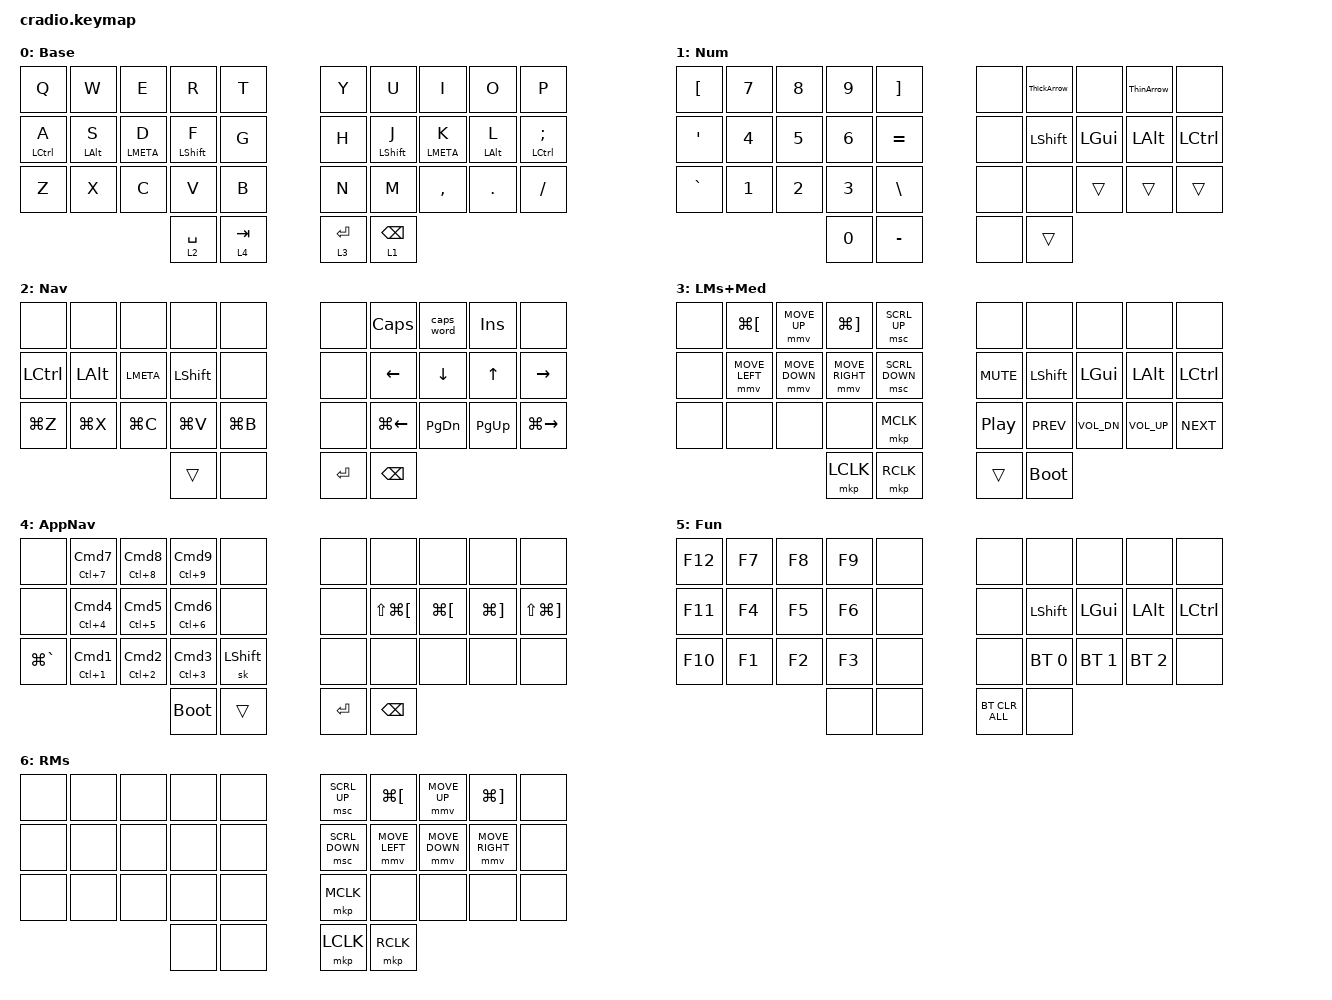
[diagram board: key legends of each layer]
// Copyright (c) 2022 The ZMK Contributors
// SPDX-License-Identifier: MIT

#include <behaviors.dtsi>
#include <dt-bindings/zmk/bt.h>
#include <dt-bindings/zmk/keys.h>
#include <dt-bindings/zmk/pointing.h>

#define ZMK_POINTING_DEFAULT_MOVE_VAL 1200
#define ZMK_POINTING_DEFAULT_SCRL_VAL 15

&lt { quick-tap-ms = <250>; };

&mmv { time-to-max-speed-ms = <600>; };

&sl {
    release-after-ms = <10000>;
    ignore-modifiers;
};

/ {
    conditional_layers { compatible = "zmk,conditional-layers"; };

    combos {
        compatible = "zmk,combos";

        Esc {
            bindings = <&kp ESC>;
            key-positions = <22 23>;
        };

        Del {
            bindings = <&kp DEL>;
            key-positions = <26 27>;
        };

        LeftMouse {
            bindings = <&tog 3>;
            key-positions = <21 22>;
            layers = <0 3>;
        };

        RightMouse {
            bindings = <&tog 6>;
            key-positions = <27 28>;
            layers = <0 6>;
        };

        Layer5 {
            bindings = <&mo 5>;
            key-positions = <33 30>;
            layers = <0 3 5 6>;
        };
    };

    macros {
        ThickArrow: ThickArrow {
            compatible = "zmk,behavior-macro";
            #binding-cells = <0>;
            bindings = <&kp SPACE &kp EQUAL &kp GT &kp SPACE>;
            label = "THICKARROW";
        };

        ThinArrow: ThinArrow {
            compatible = "zmk,behavior-macro";
            #binding-cells = <0>;
            bindings = <&kp MINUS &kp GT>;
            label = "THINARROW";
        };

        Cmd1: Cmd1 {
            compatible = "zmk,behavior-macro";
            #binding-cells = <0>;
            wait-ms = <30>;
            tap-ms = <20>;
             bindings =
                 <&macro_press &kp LGUI>,
                 <&macro_tap &kp N1>,
                 <&macro_release &kp LGUI>;

            label = "CMD1";
        };

        Cmd2: Cmd2 {
            compatible = "zmk,behavior-macro";
            #binding-cells = <0>;
            wait-ms = <30>;
            tap-ms = <20>;
             bindings =
                 <&macro_press &kp LGUI>,
                 <&macro_tap &kp N2>,
                 <&macro_release &kp LGUI>;

            label = "CMD2";
        };

        Cmd3: Cmd3 {
            compatible = "zmk,behavior-macro";
            #binding-cells = <0>;
            wait-ms = <30>;
            tap-ms = <20>;
             bindings =
                 <&macro_press &kp LGUI>,
                 <&macro_tap &kp N3>,
                 <&macro_release &kp LGUI>;

            label = "CMD3";
        };

        Cmd4: Cmd4 {
            compatible = "zmk,behavior-macro";
            #binding-cells = <0>;
            wait-ms = <30>;
            tap-ms = <20>;
             bindings =
                 <&macro_press &kp LGUI>,
                 <&macro_tap &kp N4>,
                 <&macro_release &kp LGUI>;

            label = "CMD4";
        };

        Cmd5: Cmd5 {
            compatible = "zmk,behavior-macro";
            #binding-cells = <0>;
            wait-ms = <30>;
            tap-ms = <20>;
             bindings =
                 <&macro_press &kp LGUI>,
                 <&macro_tap &kp N5>,
                 <&macro_release &kp LGUI>;

            label = "CMD5";
        };

        Cmd6: Cmd6 {
            compatible = "zmk,behavior-macro";
            #binding-cells = <0>;
            wait-ms = <30>;
            tap-ms = <20>;
             bindings =
                 <&macro_press &kp LGUI>,
                 <&macro_tap &kp N6>,
                 <&macro_release &kp LGUI>;

            label = "CMD6";
        };

        Cmd7: Cmd7 {
            compatible = "zmk,behavior-macro";
            #binding-cells = <0>;
            wait-ms = <30>;
            tap-ms = <20>;
             bindings =
                 <&macro_press &kp LGUI>,
                 <&macro_tap &kp N7>,
                 <&macro_release &kp LGUI>;

            label = "CMD7";
        };

        Cmd8: Cmd8 {
            compatible = "zmk,behavior-macro";
            #binding-cells = <0>;
            wait-ms = <30>;
            tap-ms = <20>;
             bindings =
                 <&macro_press &kp LGUI>,
                 <&macro_tap &kp N8>,
                 <&macro_release &kp LGUI>;

            label = "CMD8";
        };

        Cmd9: Cmd9 {
            compatible = "zmk,behavior-macro";
            #binding-cells = <0>;
            wait-ms = <30>;
            tap-ms = <20>;
             bindings =
                 <&macro_press &kp LGUI>,
                 <&macro_tap &kp N9>,
                 <&macro_release &kp LGUI>;

            label = "CMD9";
        };
    };

    behaviors {
        hrml_ht: hrm_left_ht {
            compatible = "zmk,behavior-hold-tap";
            label = "Home row mods left hold tap";
            bindings = <&kp>, <&kp>;

            #binding-cells = <2>;
            tapping-term-ms = <160>;
            quick-tap-ms = <150>;
            require-prior-idle-ms = <80>;
            flavor = "balanced";
            hold-trigger-on-release;
            hold-trigger-key-positions = <5 6 7 8 9 15 16 17 18 19 25 26 27 28 29 30 31 32 33>;
            hold-while-undecided;
        };

        hrmr_ht: hrm_right_ht {
            compatible = "zmk,behavior-hold-tap";
            label = "Home row mods right hold tap";
            bindings = <&kp>, <&kp>;

            #binding-cells = <2>;
            tapping-term-ms = <160>;
            quick-tap-ms = <150>;
            require-prior-idle-ms = <80>;
            flavor = "balanced";
            hold-trigger-on-release;
            hold-trigger-key-positions = <0 1 2 3 4 10 11 12 13 14 20 21 22 23 24 30 31 32 33>;
            hold-while-undecided;
        };

        an_ht: appnav_ht {
            compatible = "zmk,behavior-hold-tap";
            label = "AppNavigation hold tap";
            bindings = <&kp>, <&kp>;

            #binding-cells = <2>;
            tapping-term-ms = <160>;
            flavor = "tap-preferred";
        };

        macro_ht1: macro_hold_tap1 {
            compatible = "zmk,behavior-hold-tap";
            label = "Macro hold tap 1";
            bindings = <&kp>, <&Cmd1>;

            #binding-cells = <2>;
            tapping-term-ms = <160>;
            flavor = "tap-preferred";
        };

        macro_ht2: macro_hold_tap2 {
            compatible = "zmk,behavior-hold-tap";
            label = "Macro hold tap 2";
            bindings = <&kp>, <&Cmd2>;

            #binding-cells = <2>;
            tapping-term-ms = <160>;
            flavor = "tap-preferred";
        };

        macro_ht3: macro_hold_tap3 {
            compatible = "zmk,behavior-hold-tap";
            label = "Macro hold tap 3";
            bindings = <&kp>, <&Cmd3>;

            #binding-cells = <2>;
            tapping-term-ms = <160>;
            flavor = "tap-preferred";
        };

        macro_ht4: macro_hold_tap4 {
            compatible = "zmk,behavior-hold-tap";
            label = "Macro hold tap 4";
            bindings = <&kp>, <&Cmd4>;

            #binding-cells = <2>;
            tapping-term-ms = <160>;
            flavor = "tap-preferred";
        };

        macro_ht5: macro_hold_tap5 {
            compatible = "zmk,behavior-hold-tap";
            label = "Macro hold tap 5";
            bindings = <&kp>, <&Cmd5>;

            #binding-cells = <2>;
            tapping-term-ms = <160>;
            flavor = "tap-preferred";
        };

        macro_ht6: macro_hold_tap6 {
            compatible = "zmk,behavior-hold-tap";
            label = "Macro hold tap 6";
            bindings = <&kp>, <&Cmd6>;

            #binding-cells = <2>;
            tapping-term-ms = <160>;
            flavor = "tap-preferred";
        };

        macro_ht7: macro_hold_tap7 {
            compatible = "zmk,behavior-hold-tap";
            label = "Macro hold tap 7";
            bindings = <&kp>, <&Cmd7>;

            #binding-cells = <2>;
            tapping-term-ms = <160>;
            flavor = "tap-preferred";
        };

        macro_ht8: macro_hold_tap8 {
            compatible = "zmk,behavior-hold-tap";
            label = "Macro hold tap 8";
            bindings = <&kp>, <&Cmd8>;

            #binding-cells = <2>;
            tapping-term-ms = <160>;
            flavor = "tap-preferred";
        };

        macro_ht9: macro_hold_tap9 {
            compatible = "zmk,behavior-hold-tap";
            label = "Macro hold tap 9";
            bindings = <&kp>, <&Cmd9>;

            #binding-cells = <2>;
            tapping-term-ms = <160>;
            flavor = "tap-preferred";
        };
    };

    keymap {
        compatible = "zmk,keymap";

        Base {
            bindings = <
&kp Q             &kp W            &kp E             &kp R              &kp T        &kp Y        &kp U             &kp I             &kp O            &kp P
&hrml_ht LCTRL A  &hrml_ht LALT S  &hrml_ht LMETA D  &hrml_ht LSHIFT F  &kp G        &kp H        &hrmr_ht LSHFT J  &hrmr_ht LMETA K  &hrmr_ht LALT L  &hrmr_ht LCTRL SEMI
&kp Z             &kp X            &kp C             &kp V              &kp B        &kp N        &kp M             &kp COMMA         &kp DOT          &kp SLASH
                                                     &lt 2 SPACE        &lt 4 TAB    &lt 3 ENTER  &lt 1 BSPC
            >;
        };

        Num {
            bindings = <
&kp LBKT   &kp N7  &kp N8  &kp N9  &kp RBKT     &none  &ThickArrow  &none     &ThinArrow  &none
&kp SQT    &kp N4  &kp N5  &kp N6  &kp EQUAL    &none  &kp LSHFT    &kp LGUI  &kp LALT    &kp LCTRL
&kp GRAVE  &kp N1  &kp N2  &kp N3  &kp BSLH     &none  &none        &trans    &trans      &trans
                           &kp N0  &kp MINUS    &none  &trans
            >;
        };

        Nav {
            bindings = <
&none      &none      &none      &none       &none        &none      &kp CAPSLOCK   &caps_word  &kp INS    &none
&kp LCTRL  &kp LALT   &kp LMETA  &kp LSHIFT  &none        &none      &kp LEFT       &kp DOWN    &kp UP     &kp RIGHT
&kp LG(Z)  &kp LG(X)  &kp LG(C)  &kp LG(V)   &kp LG(B)    &none      &kp LG(LEFT)   &kp PG_DN   &kp PG_UP  &kp LG(RIGHT)
                                 &trans      &none        &kp ENTER  &kp BACKSPACE
            >;
        };

        LMs+Med {
            bindings = <
&none  &kp LG(LEFT_BRACKET)  &mmv MOVE_UP    &kp LG(RIGHT_BRACKET)  &msc SCRL_UP      &none             &none        &none         &none         &none
&none  &mmv MOVE_LEFT        &mmv MOVE_DOWN  &mmv MOVE_RIGHT        &msc SCRL_DOWN    &kp C_MUTE        &kp LSHFT    &kp LGUI      &kp LALT      &kp LCTRL
&none  &none                 &none           &none                  &mkp MCLK         &kp C_PLAY_PAUSE  &kp C_PREV   &kp C_VOL_DN  &kp C_VOL_UP  &kp C_NEXT
                                             &mkp LCLK              &mkp RCLK         &trans            &bootloader
            >;
        };

        AppNav {
            bindings = <
&none          &macro_ht7 LC(N7) 0               &macro_ht8 LC(N8) 0   &macro_ht9 LC(N9) 0   &none         &none    &none             &none         &none         &none
&none          &macro_ht4 LC(N4) 0               &macro_ht5 LC(N5) 0   &macro_ht6 LC(N6) 0   &none         &none    &kp LS(LG(LBKT))  &kp LG(LBKT)  &kp LG(RBKT)  &kp LS(LG(RBKT))
&kp LG(GRAVE)  &macro_ht1 LC(NUMBER_1) 0         &macro_ht2 LC(N2) 0   &macro_ht3 LC(N3) 0   &sk LSHIFT    &none    &none             &none         &none         &none
                                                                       &bootloader           &trans        &kp RET  &kp BSPC
            >;
        };

        Fun {
            bindings = <
&kp F12  &kp F7  &kp F8  &kp F9  &none    &none           &none         &none         &none         &none
&kp F11  &kp F4  &kp F5  &kp F6  &none    &none           &kp LSHFT     &kp LGUI      &kp LALT      &kp LCTRL
&kp F10  &kp F1  &kp F2  &kp F3  &none    &none           &bt BT_SEL 0  &bt BT_SEL 1  &bt BT_SEL 2  &none
                         &none   &none    &bt BT_CLR_ALL  &none
            >;
        };

        RMs {
            bindings = <
&none  &none  &none  &none  &none    &msc SCRL_UP    &kp LG(LEFT_BRACKET)  &mmv MOVE_UP    &kp LG(RIGHT_BRACKET)  &none
&none  &none  &none  &none  &none    &msc SCRL_DOWN  &mmv MOVE_LEFT        &mmv MOVE_DOWN  &mmv MOVE_RIGHT        &none
&none  &none  &none  &none  &none    &mkp MCLK       &none                 &none           &none                  &none
                     &none  &none    &mkp LCLK       &mkp RCLK
            >;
        };
    };
};
